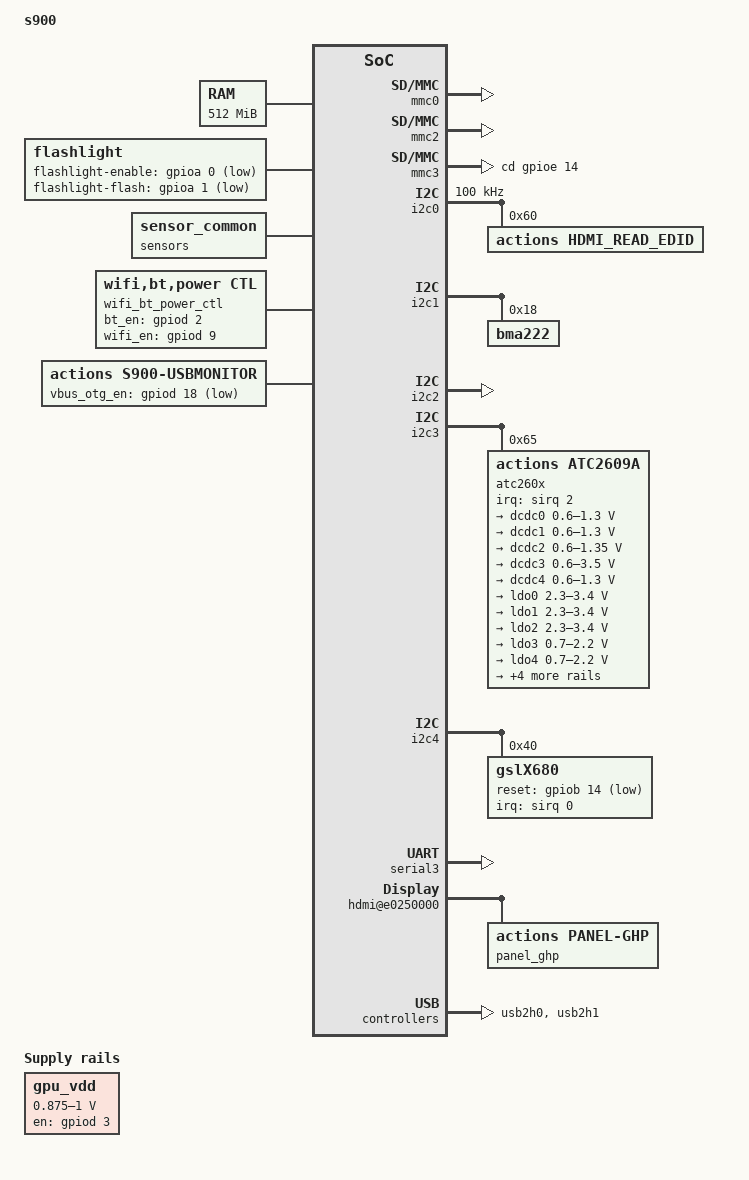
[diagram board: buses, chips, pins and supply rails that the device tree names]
/*
 * Copyright (C) 2014 Actions Semi. Inc
 *
 * This program is free software; you can redistribute it and/or
 * modify it under the terms of the GNU General Public License as
 * published by the Free Software Foundation version 2.
 *
 * This program is distributed "as is" WITHOUT ANY WARRANTY of any
 * kind, whether express or implied; without even the implied warranty
 * of MERCHANTABILITY or FITNESS FOR A PARTICULAR PURPOSE.  See the
 * GNU General Public License for more details.
 */

/dts-v1/;

/* reserve 48MB for logo(fb) */
/memreserve/ 0x19000000 0x03000000;

/* reserve 512MB for ion1(pmem) */
/memreserve/ 0x20000000 0x20000000;

/* reserve 4k for afinfo */
/memreserve/ 0x18FFF000 0x1000;

#include "s900.dtsi"

/ {
	model = "s900";
	compatible = "actions,s900", "actions,s900-evb";

	chosen {
		bootargs="fb_logo_reserve=0x19000000,0x03000000 console=ttyS5,115200 earlyprintk=serial-owl,0xe012a000 no_console_suspend loglevel=4";
	};

	memory@00000000 {
		device_type = "memory";
		reg = <0 0x00000000 0 0x20000000>;
	};

	ion_config {
		compatible = "actions,s900-ion";
		actions,ion_heap_pmem_base = <0x0 0x20000000>;
		actions,ion_heap_pmem_size = <0x0 0x20000000>;
	};

	gpiod: gpiod@e01b0000 {
		pinctrl-names = "default";
		pinctrl-0 = <&pinctrl_gpio_lvds_o>;
	};

	pinctrl@e01b0000 {
		pinctrl_i2c4: i2c4 {
			i2c4_mfp {
				actions,groups = "mfp3_8";
				actions,function = "i2c4";
			};

			i2c4_pull {
				actions,pins = "P_UART4_RX", "P_UART4_TX";
				actions,pull = <2>;
			};
		};

		pinctrl_i2c3: i2c3 {
			i2c3_mfp {
				actions,groups = "mfp0_1_0";
				actions,function = "i2c3";
			};

			i2c3_pull {
				actions,pins = "P_PCM1_IN", "P_PCM1_OUT";
				actions,pull = <2>;
			};
		};
		
		
		inctrl_i2c0_default: i2c0 {
			i2c0_mfp {
				actions,groups = "mfp3_18_16";
				actions,function = "i2c0";
			};

			i2c0_pull {
				actions,pins = "P_I2C0_SCLK", "P_I2C0_SDATA";
				actions,pull = <2>; /*PULL UP*/
			};
			
			i2c0_paddrv {
				actions,groups = "paddrv2_31_30";
				actions,paddrv = <3>;/*level 0~3*/
			};
		};

	};


	mmc0: mmc@e0338000 {
		card-type = "emmc";
		status = "okay";
	};

	mmc1: mmc@e033c000 {
		card-type = "emmc";
		status = "disabled";
	};

	mmc2: mmc@e0334000 {
		card-type = "wifi";
		wifi-card-voltage = "1.8v";  /* only: "1.8v", "3.1v" */
		status = "okay";
	};

	mmc3: mmc@e0330000 {
		card-type = "memory";  /* only: "memory", "wifi", or "emmc" */
		card-detect-mode = "gpio";  /* only: "sirq", "gpio", or "command" */
		cd-gpios = <&gpioe 14 0>; /*GPIOBE14 */
		sd_vcc = "ldo0";
		status = "okay";
	};

	i2c0: i2c@e0170000 {
		clock-frequency = <100000>;
		status = "okay";
		hdmi_read_edid@60 {
			compatible = "actions,hdmi_read_edid";
			reg = <0x60>;
		};
	};

	i2c1: i2c@e0172000 {
		status = "okay";
		bma222@18 {
			compatible = "bma222";
			reg = <0x18>;
			position = "-1";
			calibration = <0 0 0>;
		};
	};

	i2c2: i2c@e0174000 {
		status = "okay";
	};

	i2c3: i2c@e0176000 {
		status = "okay";
		/* atc2609a (5303) */
		atc260x: atc2609a@65 {
			compatible = "actions,atc2609a","actions,atc260x";
			reg = <0x65>;
			interrupt-parent = <&sirq>;
			interrupts = <2>;
			interrupt-controller;
			#interrupt-cells = <1>;

			losc_32k_output_enable = <1>;    /* enable/disable output 32.768K clock via AUXIN1 pin */

			pm {
				compatible = "actions,atc2609a-pm";
			};

			onoff {
				compatible = "actions,atc2609a-onoff";
			};

			rtc{
				compatible = "actions,atc2609a-rtc";
			};

			atc260x_gpio{
				compatible = "actions,atc2609a-gpio";
			};

			atc260x-adckeypad{
				#define KEY_HOME				102
				#define KEY_MENU				139
				#define KEY_BACK				158
				#define KEY_VOLUMEDOWN				114
				#define KEY_VOLUMEUP				115
				keymapsize = <2>;                   /* number of ADC key */
				filter_dep = <3>;                   /* depth of the moving average filter (length of filter queue) */
				variance = <15>;                    /* filter will not output until the difference between every two ADC samples in the filter queue goes below this value */
				poll_interval =  <20>;              /* sample period, in ms */
				left_adc_val =  <0 3300>;           /* for key code translator, each value defines a lower bound of ADC value of a key */
				right_adc_val = <100 3700>;          /* for key code translator, each value defines a upper bound of ADC value of a key */
				key_val = <KEY_VOLUMEUP KEY_VOLUMEDOWN>; /* for key code translator, each value defines the key_code of a key */
				adc_channel_name = "AUX0";          /* the ADC channel used for sampling, valid names are REMCON AUX0 AUX1 AUX2 (AUX3) */
				compatible = "actions,atc2609a-adckeypad";
				key_check_mode = <1>;              /*  0:  GPIO key;  1:  ADC key   */
			};

			/*the cfg params must be read	in the first installed ko,
			 now snd-soc-atv5302.ko is first installed.
			 1, earphone_detect_level use the third value of earphone_gpios
			 2, commonly, we shouldn't change the value of speaker_gain and earphone_gain*/

			atc260x-audio{
				compatible = "actions,atc2609a-audio";
				status = "okay";
                                pinctrl-names = "default";
                                pinctrl-0 = <&i2s0_state_default>;
				clocks = <&clock CLK_AUDIO_PLL>, <&clock CLK_HDMI_AUDIO>;
				clock-names = "audio_pll", "hdmia";
				earphone_detect_gpios = <&gpiob 11 0>; /*0: high, 1: low hr280ac GPIOB11 0*/
				speaker_en_gpios = <&gpioa 19 1>; /*hr280ac GPIOA(19) 0: high, 1: low*/
				earphone_output_mode = <0>; /*0: direct mode, 1: undirect mode*/
				mic_num = <1>; /*just suport 1, 2*/
				mic0_gain = < 0x7 0x7 >; /*<Lchannel,Rchannel> [0x0~0xF]*/
				speaker_gain = < 0xaa 0xaa >; /*<Lchannel,Rchannel>[0x00~0xbebe]*/
				earphone_gain = < 0xbe 0xbe >; /*<Lchannel,Rchannel>[0x00~0xbebe]*/
				speaker_volume = < 0x28 0x28 >; /*volume [0x00~0x28]*/
				earphone_volume = < 0x28 0x28 >; /*volume [0x00~0x28]*/
				earphone_detect_mode = <0>;  /*0: polling,   1: interrupt*/
			};

			atc260x-hwmon{
				compatible = "actions,atc2609a-hwmon";
			};

			atc260x-charger{
				compatible = "actions,atc2609a-charger";
				rsense = <20>;/*unit:mohm*/
				bat_type = <1>;/*0:4.18v; 1:4.2v; 2:4.3v; 3:4.35v*/
				bl_on_current_usb_pc = <300>;
				bl_off_current_usb_pc = <500>;
				bl_on_current_usb_adp = <300>;
				bl_off_current_usb_adp = <800>;
				bl_on_current_wall_adp = <300>;
				bl_off_current_wall_adp = <1500>;
				support_adaptor_type = <3>; /*1: DCIN  2: USB  3:DCIN+USB*/
				ext_charger = <0>;
				usb_adapter_as_ac = <1>;/*0:usb ada keep itself; 1:usb ada used as DCIN when usb plug and batv<3.3v during minicharge*/
				usb_pc_ctl_mode = <1>; /*0:disable vbus ctl;1:current limited;2:voltage limited*/
			};


			/* DCDC0       VDD_CORE
			 * DCDC1       VDD_CPU
			 * DCDC2       VDDR
			 * DCDC3       VCC
			 * DCDC4       VDD_CPUM
			 */
			dcdc0: dcdc0 {
				compatible = "actions,atc2609a-dcdc0","actions,atc2609a-dcdc";
				regulator-name = "dcdc0";
				regulator-min-microvolt = <600000>;
				regulator-max-microvolt = <1300000>;
				regulator-always-on;
			};

			dcdc1: dcdc1 {
				compatible = "actions,atc2609a-dcdc1","actions,atc2609a-dcdc";
				regulator-name = "dcdc1";
				regulator-min-microvolt = <600000>;
				regulator-max-microvolt = <1300000>;
				regulator-always-on;
			};

			dcdc2: dcdc2 {
				compatible = "actions,atc2609a-dcdc2","actions,atc2609a-dcdc";
				regulator-name = "dcdc2";
				regulator-min-microvolt = <600000>;
				regulator-max-microvolt = <1350000>;
				regulator-always-on;
			};

			dcdc3: dcdc3 {
				compatible = "actions,atc2609a-dcdc3","actions,atc2609a-dcdc";
				regulator-name = "dcdc3";
				regulator-min-microvolt = <600000>;
				regulator-max-microvolt = <3500000>;
				regulator-always-on;
			};

			dcdc4: dcdc4 {
				compatible = "actions,atc2609a-dcdc4","actions,atc2609a-dcdc";
				regulator-name = "dcdc4";
				regulator-min-microvolt = <600000>;
				regulator-max-microvolt = <1300000>;
				regulator-always-on;
			};

 			/* LDO0        SD_VCC     
			 * LDO1        WIFI_3V3  
			 * LDO2        AVCC       
			 * LDO3        ATC2609_VDD   
			 * LDO4        AVCC_1V8   
			 * LDO6        AVDD_1V0   
			 * LDO7        VCC_1V8_IO  
			 * LDO8        UNUSED     
			 * LDO9        RTC_VDD     */

			ldo0: ldo0{
				compatible = "actions,atc2609a-ldo0","actions,atc2609a-ldo";
				regulator-name = "ldo0";
				regulator-min-microvolt  = <2300000>;
				regulator-max-microvolt = <3400000>;
				regulator-always-on;
			};

			ldo1: ldo1{
				compatible = "actions,atc2609a-ldo1","actions,atc2609a-ldo";
				regulator-name = "ldo1";
				regulator-min-microvolt  = <2300000>;
				regulator-max-microvolt = <3400000>;
			};

			ldo2: ldo2{
				compatible = "actions,atc2609a-ldo2","actions,atc2609a-ldo";
				regulator-name = "ldo2";
				regulator-min-microvolt  = <2300000>;
				regulator-max-microvolt = <3400000>;
				regulator-always-on;
			};

			ldo3: ldo3{
				compatible = "actions,atc2609a-ldo3","actions,atc2609a-ldo";
				regulator-name = "ldo3";
				regulator-min-microvolt  = <700000>;
				regulator-max-microvolt = <2200000>;
				regulator-always-on;
			};

			ldo4: ldo4{
				compatible = "actions,atc2609a-ldo4","actions,atc2609a-ldo";
				regulator-name = "ldo4";
				regulator-min-microvolt  = <700000>;
				regulator-max-microvolt = <2200000>;
				regulator-always-on;
			};

			ldo6: ldo6{
				compatible = "actions,atc2609a-ldo6","actions,atc2609a-ldo";
				regulator-name = "ldo6";
				regulator-min-microvolt  = <850000>;
				regulator-max-microvolt = <2200000>;
				regulator-always-on;
			};

			ldo7: ldo7{
				compatible = "actions,atc2609a-ldo7","actions,atc2609a-ldo";
				regulator-name = "ldo7";
				regulator-min-microvolt  = <700000>;
				regulator-max-microvolt = <2200000>;
			};

			ldo8: ldo8{
				compatible = "actions,atc2609a-ldo8","actions,atc2609a-ldo";
				regulator-name = "ldo8";
				regulator-min-microvolt  = <2100000>;
				regulator-max-microvolt = <3300000>;
			};

			ldo9: ldo9{
				compatible = "actions,atc2609a-ldo9","actions,atc2609a-ldo";
				regulator-name = "ldo9";
				regulator-min-microvolt  = <2600000>;
				regulator-max-microvolt = <3300000>;
				regulator-always-on;
			};
		};
	};

	i2c4: i2c@e0178000 {
		pinctrl-names = "default";
		pinctrl-0 = <&pinctrl_i2c4>;
		status = "okay";
		gslX680@40 {
			compatible = "gslX680";
			reg = <0x40>;
			tp_vcc = "ldo8";
			reset_gpios = <&gpiob 14 1>;/*GPIOB(14) 0: high, 1: low*/
			x_pixel = <1536>;
			y_pixel = <2048>;
			x_revert_en = <1>;
			y_revert_en = <0>;
			xy_swap_en = <0>;
			rotate_degree = <0>;     /* 0 90 180 270 */
			interrupt-parent = <&sirq>;
			interrupts = < 0 0x4 >; /*SIRQ0*/
			vol_range = <3100000 3110000>;
		};
	};

	serial3: uart@e0126000 {
		dmas = <&dma DMA_DRQ_UART3_TX>, <&dma DMA_DRQ_UART3_RX>;
		dma-names = "tx", "rx";
		status = "okay";
	};

	flashlight {
		compatible = "flashlight";
		flashlight-enable = <&gpioa 0 1>; /* GPIOA0 */
		flashlight-flash  = <&gpioa 1 1>; /* GPIOA1 */
		status = "okay";
	};

	isp0: isp@e0270000 {
		mirror_flip = <3>;  /* bit-0:rear camera; bit-1:front camera; 0: no flip,no mirror; 1: no flip,horizontal mirror; 2:vertical flip,no mirror; 3: vertical flip,horizontal mirror */

		avdd-src = "gpio";  /* only: "gpio", "regulator" */
		avdd-gpios = <&gpioa 18 1>; /* GPIOA18 */

		board_type = "evb";/* "ces" or "evb"*/
		sensors = "dual"; /* "dual", "front" or "rear" */
		pwdn-rear-gpios = <&gpioa 27 1>; /* GPIOA27 */
		pwdn-front-gpios = <&gpioa 26 1>; /* GPIOA26 */
		reset-gpios = <&gpiob 15 1>; /*GPIOB15*/

		pinctrl-names = "default";
		pinctrl-0 = <&mipi_csi0_state_default>, <&mipi_csi1_state_default>;

		status = "okay"; /* create platform-device */
	};

	sensors: isp-sensor {
		compatible = "sensor_common";
		i2c_adapter = <&i2c2>; /* 0-3 begin from enabled ones */

		status = "okay";
	};

	framebuffer {
		compatible = "actions,framebuffer";

		ovl_boot {
		        usage = "boot";
		        disp_dev = <&panel_ghp>;
		};

		ovl_extra {
		        usage = "extra";
		};
	};

	edp: edp@e02e0000 {
	   status = "disabled";
	};
	
	wifi_bt_power_ctl {
		compatible = "wifi,bt,power,ctl";
		
		reg_wl_bt_power_en = "ldo1";	/* use ldo1*/
		wifi_vol_range = <3300000 3310000>;	/* set ldo voltage as 3.3v*/
		bt_en_gpios = <&gpiod 2 0>;/*GPIOd2 high active*/  /*M3305 A17 reset pin*/
		wifi_en_gpios = <&gpiod 9 0>; /* GPIOd9*/
	};

	hdmi@e0250000 {
		tmds-avdd-supply = <&ldo4>;

		hdcp_onoff = <0>;
		channel_invert = <0>;
		bit_invert = <0>;

		panel_ghp: hdmi_panel {
			compatible = "actions,panel-ghp";

			is_primary = <1>;

			hotplugable = <1>;
			hotplug_always_on = <1>;

			draw_width = <1920>;
			draw_height = <1080>;

		};
	};

	monitor {
		pinctrl-names = "default";
		pinctrl-0 = <&pinctrl_gpio_lvds_e>;
		compatible = "actions,s900-usbmonitor";
		detect_type = <3>; /* config what to detect, 0:DISABLE ; 1:DEVICE_ONLY; 2:HOST_ONLY; 3: HOST_AND_DEVICE*/
		idpin_type   = <0>; /* 0:use ic's idpin;      1:soft idpin,##no support!##;       2:gpio idpin,use gpio to detect,need to add a "idpin_gpio" configuration */
		vbus_type   = <2>; /* 0:use ic's vbuspin; 1:gpio vbus,##no support!## ;      2:use dc5v to detect vbus level*/		
		force_detect = <33>; /*11: force b_in; 22 force b_out,33:force a_in,44:force a_out*/
		
		/*vbus_otg_en_gpio is use to turn on/off otg vbus,it's different from vbus detect gpio;*/
		vbus_otg_en_gpios = <&gpiod 18 1>;  /* GPIOD18,  0: low active; 1: high active */
		status = "okay";
	};

	owl_usb_config {
		compatible = "actions,owl-usb-config";
		usb_serialnumber_config = <1>; /* config serialnumber string format, 0: fixed serial no in ascii format; 1: fixed serial no in unicode format; 2:non-fixed serial no in unicode format*/
		usb_hs_output_strength = <3>; /*defaut:3,range:0~7; 0:min,7:max;usb high speed(2.0)transmitter output strength*/
		status = "okay";
	};

 	usb2h0: usb@e02b0000 {
		vbus_otg_en_gpio = <&gpiod 19 1>; /*GPIO D19*/
		port_host_plug_detect = <1>;
		status = "okay";
	};

	usb2h1: usb@e02c0000 {
		/*vbus_otg_en_gpio =<&gpiod 18 0>;*/ /*note:delete GPIO D18 because usb3.0 use the same GPIO with usb2h1*/
		port_host_plug_detect = <2>; /*0:disable 1:enable and vbus contrl 2:only detect*/
		aotg_wake_lock = <1>; /*keep wake_lock,prevent suspend*/
		status = "okay";
	};

	gpu_vdd: gpio-regulator {
	   compatible = "regulator-gpio";

	   regulator-name = "gpu-gpio-supply";
	   regulator-type = "voltage";
	   regulator-min-microvolt = <875000>;
	   regulator-max-microvolt = <1000000>;

	   enable-gpio = <&gpiod 3 0x4>;
	   gpios = <&gpioa 24 0x4>;
	   states = <875000 0x1
	   	     1000000 0x0>;

	   startup-delay-us = <2000>;
	   enable-active-high;
	};

	gpu@e0600000 {
		gpu-supply = <&gpu_vdd>;

		operating-points = <352000  875000
		                    528000 1000000>;
	};
};
